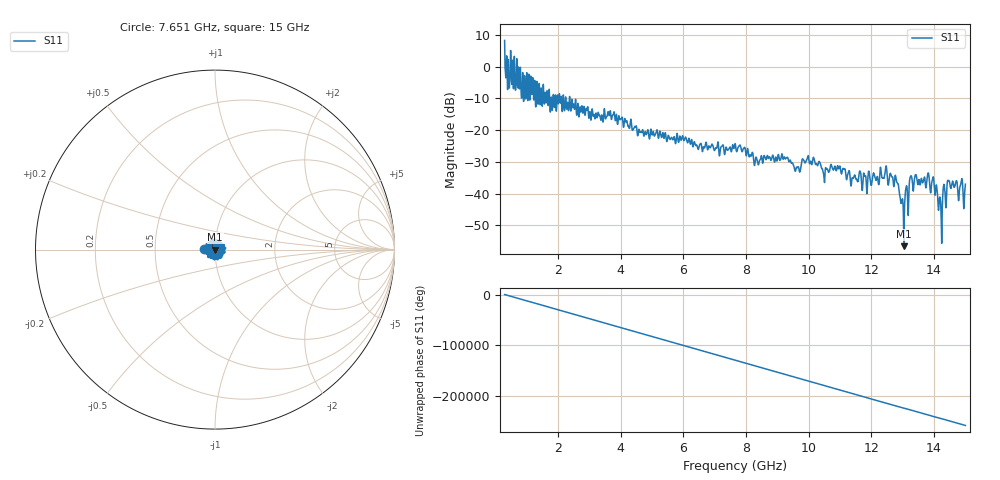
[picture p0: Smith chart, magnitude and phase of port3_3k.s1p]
# GHZ S RI R 50.0
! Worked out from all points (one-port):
!   12801 points, 300 MHz to 15 GHz, reference 50 ohm
!   lowest |S11| = -56.6 dB at 13.04 GHz (marker M1), VSWR 1.00, Z = 50.1 + j0.0239 ohm
!   |S11| at or under -10 dB: 2.182 GHz to 2.24 GHz (58.47 MHz wide, 2.64 % of centre); 2.253 GHz to 2.367 GHz (114.1 MHz wide, 4.94 % of centre); 2.38 GHz to end of sweep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
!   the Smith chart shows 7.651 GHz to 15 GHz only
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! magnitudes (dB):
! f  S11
! 300 MHz  8.3
! 395.3 MHz  -7.2
! 744.4 MHz  -0.2
! 902.9 MHz  -10.8
! 1.137 GHz  -3.0
! 2.138 GHz  -14.1
! 3.975 GHz  -16.7
! 4.597 GHz  -20.1
! 5.812 GHz  -21.4
! 7.65 GHz  -24.3
! 8.329 GHz  -28.6
! 9.191 GHz  -29.2
! 9.488 GHz  -30.4
! 9.999 GHz  -28.4
! 10.47 GHz  -33.4
! 10.95 GHz  -32.2
! 11.32 GHz  -35.4
! 12.44 GHz  -32.8
! 12.81 GHz  -36.4
! 12.98 GHz  -42.1
! 13.04 GHz  -56.6
! 13.16 GHz  -44.1
! 13.27 GHz  -34.4
! 13.78 GHz  -35.5
! 14.02 GHz  -40.0
! 14.2 GHz  -41.5
! 14.48 GHz  -36.0
! 15 GHz  -37.0
